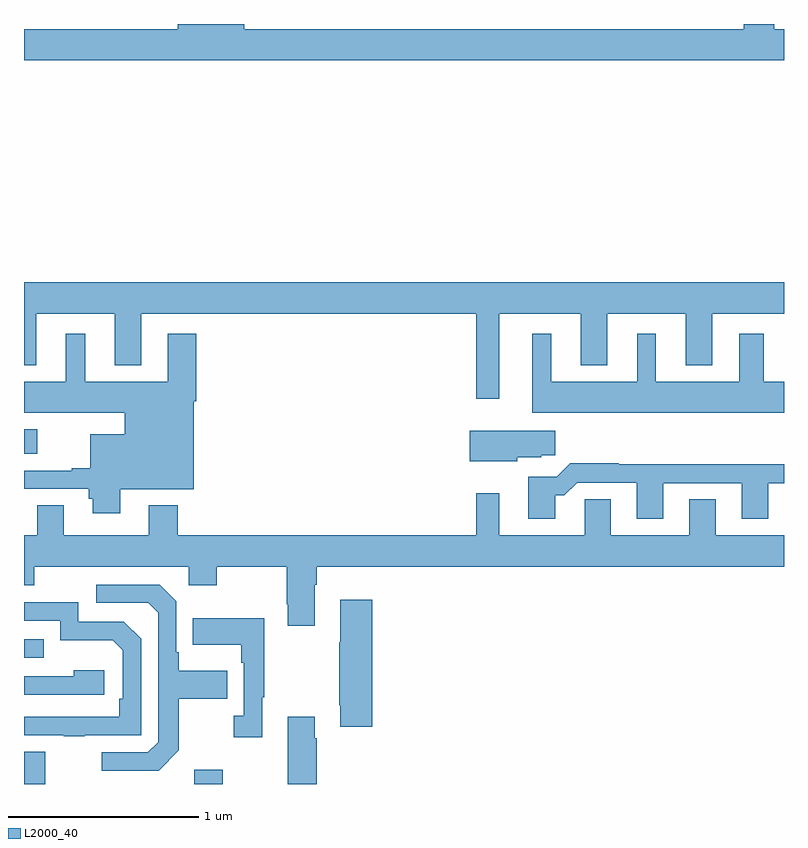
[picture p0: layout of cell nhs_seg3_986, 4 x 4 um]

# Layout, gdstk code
import gdstk
lib = gdstk.Library(unit=1e-6, precision=1e-09)
def R(c, l, rs):  # rectangles x0, y0, x1, y1
    for r in rs: c.add(gdstk.rectangle(r[:2], r[2:], *l))
def P(c, l, *ps):  # polygons
    for p in ps: c.add(gdstk.Polygon(p, *l))
L2000_40 = (2000, 40)

nhs_seg3_986 = lib.new_cell('nhs_seg3_986')
R(nhs_seg3_986, L2000_40, [(161,738.4,161.113,738.571), (161.897,738.4,162.045,738.475), (161,739.065,161.105,739.161), (161,740.138,161.071,740.266)])
P(nhs_seg3_986, L2000_40, [(165,742.372),(164.949,742.372),(164.949,742.4),(164.789,742.4),(164.789,742.372),(162.16,742.372),(162.16,742.4),(161.81,742.4),(161.81,742.372),(161,742.372),(161,742.208),(165,742.208)],
  [(163.501,740.876),(163.931,740.876),(163.931,740.603),(164.071,740.603),(164.071,740.876),(164.483,740.876),(164.483,740.603),(164.623,740.603),(164.623,740.876),(165,740.876),(165,741.04),(161,741.04),(161,740.603),(161.065,740.603),(161.065,740.876),(161.477,740.876),(161.477,740.603),(161.617,740.603),(161.617,740.876),(163.38,740.876),(163.38,740.427),(163.501,740.427)],
  [(165,740.518),(164.893,740.518),(164.893,740.77),(164.765,740.77),(164.765,740.518),(164.326,740.518),(164.326,740.77),(164.228,740.77),(164.228,740.518),(163.774,740.518),(163.774,740.77),(163.676,740.77),(163.676,740.354),(165,740.354)],
  [(161.506,739.952),(161.893,739.952),(161.893,740.414),(161.906,740.414),(161.906,740.77),(161.756,740.77),(161.756,740.518),(161.323,740.518),(161.323,740.77),(161.219,740.77),(161.219,740.518),(161,740.518),(161,740.354),(161.531,740.354),(161.531,740.242),(161.348,740.242),(161.348,740.062),(161.252,740.062),(161.252,740.049),(161,740.049),(161,739.953),(161.341,739.953),(161.341,739.902),(161.363,739.902),(161.363,739.824),(161.506,739.824)],
  [(163.596,740.12),(163.722,740.12),(163.722,740.131),(163.795,740.131),(163.795,740.26),(163.346,740.26),(163.346,740.099),(163.596,740.099)],
  [(163.795,739.919),(163.844,739.919),(163.911,739.986),(164.225,739.986),(164.225,739.797),(164.365,739.797),(164.365,739.983),(164.777,739.983),(164.777,739.797),(164.917,739.797),(164.917,739.983),(165,739.983),(165,740.084),(164.129,740.084),(164.129,740.087),(163.874,740.087),(163.803,740.016),(163.655,740.016),(163.655,739.797),(163.795,739.797)],
  [(162.529,739.448),(162.542,739.448),(162.542,739.544),(165,739.544),(165,739.708),(164.641,739.708),(164.641,739.898),(164.501,739.898),(164.501,739.708),(164.089,739.708),(164.089,739.898),(163.95,739.898),(163.95,739.708),(163.501,739.708),(163.501,739.93),(163.38,739.93),(163.38,739.708),(161.81,739.708),(161.81,739.867),(161.657,739.867),(161.657,739.708),(161.209,739.708),(161.209,739.868),(161.069,739.868),(161.069,739.708),(161,739.708),(161,739.445),(161.055,739.445),(161.055,739.544),(161.868,739.544),(161.868,739.445),(162.015,739.445),(162.015,739.544),(162.382,739.544),(162.382,739.345),(162.389,739.345),(162.389,739.233),(162.529,739.233)],
  [(161.815,738.577),(161.815,738.85),(162.071,738.85),(162.071,738.997),(161.815,738.997),(161.815,739.093),(161.802,739.093),(161.802,739.362),(161.715,739.449),(161.379,739.449),(161.379,739.353),(161.655,739.353),(161.706,739.302),(161.706,738.621),(161.652,738.567),(161.409,738.567),(161.409,738.471),(161.709,738.471)],
  [(162.833,739.369),(162.665,739.369),(162.665,739.145),(162.658,739.145),(162.658,738.814),(162.665,738.814),(162.665,738.702),(162.833,738.702)],
  [(161.321,738.657),(161.616,738.657),(161.616,739.164),(161.526,739.254),(161.286,739.254),(161.286,739.356),(161,739.356),(161,739.26),(161.19,739.26),(161.19,739.157),(161.467,739.157),(161.52,739.104),(161.52,738.85),(161.5,738.85),(161.5,738.753),(161,738.753),(161,738.657),(161.209,738.657),(161.209,738.652),(161.321,738.652)],
  [(162.253,738.857),(162.265,738.857),(162.265,739.273),(161.887,739.273),(161.887,739.133),(162.144,739.133),(162.144,739.037),(162.156,739.037),(162.156,738.758),(162.105,738.758),(162.105,738.645),(162.253,738.645)],
  [(161.422,739),(161.261,739),(161.261,738.966),(161,738.966),(161,738.87),(161.422,738.87)],
  [(162.542,738.641),(162.529,738.641),(162.529,738.754),(162.389,738.754),(162.389,738.4),(162.542,738.4)])

lib.write_gds('nhs_seg3_986.gds')
